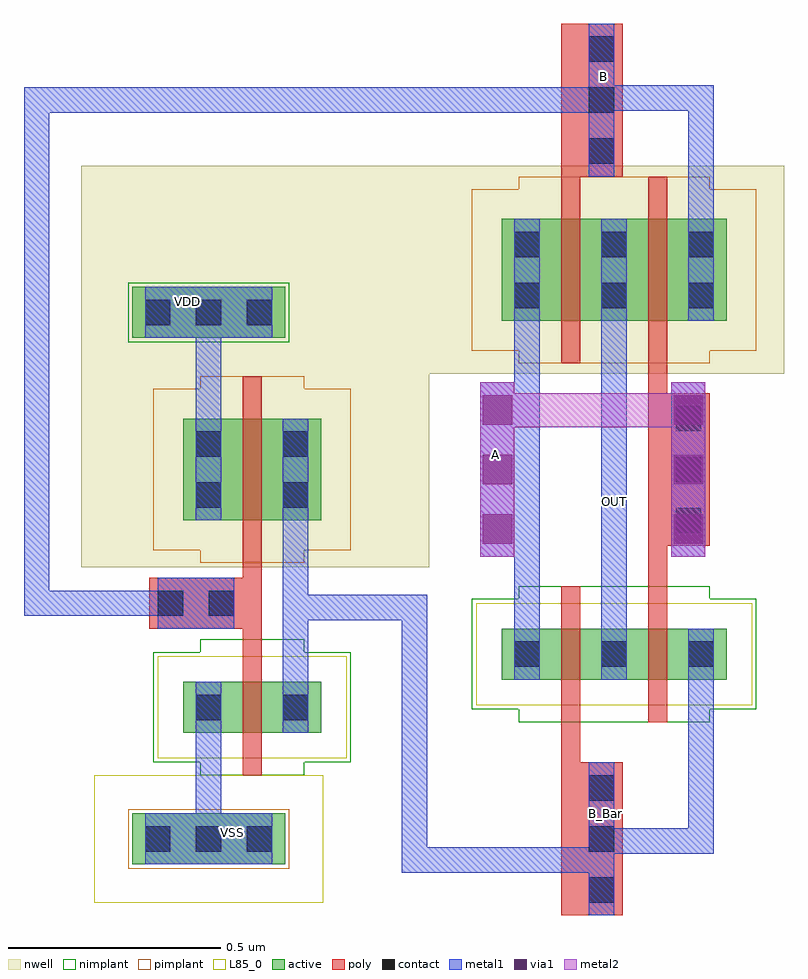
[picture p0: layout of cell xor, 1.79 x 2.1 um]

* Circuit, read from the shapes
.subckt xor A B B_Bar OUT VDD VSS
M1 B_Bar B VSS VSS nfet w=0.12u l=0.045u
M2 OUT B_Bar A VSS nfet w=0.12u l=0.045u
M3 B_Bar A OUT VSS nfet w=0.12u l=0.045u
M4 B_Bar B VDD VDD pfet w=0.24u l=0.045u
M5 OUT B A VDD pfet w=0.24u l=0.045u
M6 B A OUT VDD pfet w=0.24u l=0.045u
.ends

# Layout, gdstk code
import gdstk
lib = gdstk.Library(unit=1e-6, precision=5e-10)
def R(c, l, rs):  # rectangles x0, y0, x1, y1
    for r in rs: c.add(gdstk.rectangle(r[:2], r[2:], *l))
def A(c, l, x, y, w, h, nx, ny, dx, dy):  # array of equal rectangles
    R(c, l, [(x+i*dx, y+j*dy, x+i*dx+w, y+j*dy+h) for i in range(nx) for j in range(ny)])
def P(c, l, *ps):  # polygons
    for p in ps: c.add(gdstk.Polygon(p, *l))
active = (1, 0)
nwell = (2, 0)
poly = (3, 0)
nimplant = (4, 0)
pimplant = (5, 0)
contact = (6, 0)
metal1 = (7, 0)
via1 = (8, 0)
metal2 = (9, 0)
L85_0 = (85, 0)

nmos1v_cdns_764441582630 = lib.new_cell('nmos1v_CDNS_764441582630')
R(nmos1v_cdns_764441582630, active, [(-0.14,0,0,0.12), (0,0,0.045,0.12), (0.045,0,0.185,0.12)])
R(nmos1v_cdns_764441582630, poly, [(0,-0.1,0.045,-0.05), (0,-0.05,0.045,0), (0,0,0.045,0.12), (0,0.12,0.045,0.17), (0,0.17,0.045,0.22)])
R(nmos1v_cdns_764441582630, nimplant, [(-0.1,-0.1,0.145,0.22), (-0.21,-0.07,0.255,0.19)])
R(nmos1v_cdns_764441582630, contact, [(-0.11,0.03,-0.05,0.09), (0.095,0.03,0.155,0.09)])
R(nmos1v_cdns_764441582630, metal1, [(-0.11,0,-0.05,0.12), (0.095,0,0.155,0.12)])
R(nmos1v_cdns_764441582630, L85_0, [(-0.2,-0.06,0.245,0.18)])
nmos1v_cdns_764441582630.add(gdstk.Label('D_drain_1', (0.115,0.06), layer=1, texttype=0))
nmos1v_cdns_764441582630.add(gdstk.Label('S_source_0', (-0.07,0.06), layer=1, texttype=0))
nmos1v_cdns_764441582630.add(gdstk.Label('G_gate_1', (0.0225,-0.075), layer=3, texttype=0))
nmos1v_cdns_764441582630.add(gdstk.Label('G_gate_1', (0.0225,0.195), layer=3, texttype=0))
nmos1v_cdns_764441582630.add(gdstk.Label('D_drain_1', (0.125,0.06), layer=7, texttype=0))
nmos1v_cdns_764441582630.add(gdstk.Label('S_source_0', (-0.08,0.06), layer=7, texttype=0))
nmos1v_cdns_764441582630.add(gdstk.Label('B', (0.0225,0.06), layer=85, texttype=0))

pmos1v_cdns_764441582631 = lib.new_cell('pmos1v_CDNS_764441582631')
R(pmos1v_cdns_764441582631, active, [(-0.14,0,0,0.24), (0,0,0.045,0.24), (0.045,0,0.185,0.24)])
R(pmos1v_cdns_764441582631, nwell, [(-0.2,-0.06,0.245,0.3)])
R(pmos1v_cdns_764441582631, poly, [(0,-0.1,0.045,-0.05), (0,-0.05,0.045,0), (0,0,0.045,0.24), (0,0.24,0.045,0.29), (0,0.29,0.045,0.34)])
R(pmos1v_cdns_764441582631, pimplant, [(-0.1,-0.1,0.145,0.34), (-0.21,-0.07,0.255,0.31)])
R(pmos1v_cdns_764441582631, contact, [(-0.11,0.03,-0.05,0.09), (0.095,0.03,0.155,0.09), (-0.11,0.15,-0.05,0.21), (0.095,0.15,0.155,0.21)])
R(pmos1v_cdns_764441582631, metal1, [(-0.11,0,-0.05,0.24), (0.095,0,0.155,0.24)])
pmos1v_cdns_764441582631.add(gdstk.Label('D_drain_1', (0.115,0.12), layer=1, texttype=0))
pmos1v_cdns_764441582631.add(gdstk.Label('S_source_0', (-0.07,0.12), layer=1, texttype=0))
pmos1v_cdns_764441582631.add(gdstk.Label('G_gate_1', (0.0225,-0.075), layer=3, texttype=0))
pmos1v_cdns_764441582631.add(gdstk.Label('G_gate_1', (0.0225,0.315), layer=3, texttype=0))
pmos1v_cdns_764441582631.add(gdstk.Label('D_drain_1', (0.125,0.12), layer=7, texttype=0))
pmos1v_cdns_764441582631.add(gdstk.Label('S_source_0', (-0.08,0.12), layer=7, texttype=0))
pmos1v_cdns_764441582631.add(gdstk.Label('B', (0.0225,0.12), layer=2, texttype=0))

m1_psub_cdns_76444158263 = lib.new_cell('M1_PSUB_CDNS_764441582632')
R(m1_psub_cdns_76444158263, active, [(-0.18,-0.06,0.18,0.06)])
R(m1_psub_cdns_76444158263, pimplant, [(-0.19,-0.07,0.19,0.07)])
A(m1_psub_cdns_76444158263, contact, -0.15, -0.03, 0.06, 0.06, 3, 1, 0.12, 0)
R(m1_psub_cdns_76444158263, metal1, [(-0.15,-0.06,0.15,0.06)])
R(m1_psub_cdns_76444158263, L85_0, [(-0.27,-0.15,0.27,0.15)])

m1_po_cdns_764441582633 = lib.new_cell('M1_PO_CDNS_764441582633')
R(m1_po_cdns_764441582633, poly, [(-0.11,-0.06,0.11,0.06)])
R(m1_po_cdns_764441582633, contact, [(-0.09,-0.03,-0.03,0.03), (0.03,-0.03,0.09,0.03)])
R(m1_po_cdns_764441582633, metal1, [(-0.09,-0.06,0.09,0.06)])

m1_nwell_cdns_7644415826 = lib.new_cell('M1_NWELL_CDNS_764441582634')
R(m1_nwell_cdns_7644415826, active, [(-0.18,-0.06,0.18,0.06)])
R(m1_nwell_cdns_7644415826, nwell, [(-0.27,-0.15,0.27,0.15)])
R(m1_nwell_cdns_7644415826, nimplant, [(-0.19,-0.07,0.19,0.07)])
A(m1_nwell_cdns_7644415826, contact, -0.15, -0.03, 0.06, 0.06, 3, 1, 0.12, 0)
R(m1_nwell_cdns_7644415826, metal1, [(-0.15,-0.06,0.15,0.06)])

inv = lib.new_cell('inv')
R(inv, nwell, [(-0.4,0.12,0.345,0.9)])
R(inv, metal1, [(-0.12,-0.51,-0.095,-0.5), (0.09,0.005,0.12,0.06), (-0.09,0.035,-0.07,0.05), (-0.105,0.695,-0.09,0.71)])
inv.add(gdstk.FlexPath([(-0.0025,-0.05),(-0.0025,0.13)], 0.045, ends="flush", simple_path=True, layer=3, datatype=0))  # poly
inv.add(gdstk.FlexPath([(0.1,-0.15),(0.1,0.23)], 0.06, ends="flush", simple_path=True, layer=7, datatype=0))  # metal1
inv.add(gdstk.FlexPath([(-0.105,-0.52),(-0.105,-0.245)], 0.06, ends="flush", simple_path=True, layer=7, datatype=0))  # metal1
inv.add(gdstk.FlexPath([(-0.105,0.47),(-0.105,0.72)], 0.06, ends="flush", simple_path=True, layer=7, datatype=0))  # metal1
inv.add(gdstk.Reference(nmos1v_cdns_764441582630, (-0.025,-0.27)))
inv.add(gdstk.Reference(pmos1v_cdns_764441582631, (-0.025,0.23)))
inv.add(gdstk.Reference(m1_psub_cdns_76444158263, (-0.105,-0.52)))
inv.add(gdstk.Reference(m1_po_cdns_764441582633, (-0.135,0.035)))
inv.add(gdstk.Reference(m1_nwell_cdns_7644415826, (-0.105,0.72)))
inv.add(gdstk.Label('OUT', (0.105,0.03), layer=7, texttype=0))
inv.add(gdstk.Label('OUT', (0.105,0.0325), layer=7, texttype=0))
inv.add(gdstk.Label('IN', (-0.08,0.045), layer=7, texttype=0))
inv.add(gdstk.Label('IN', (-0.08,0.0425), layer=7, texttype=0))
inv.add(gdstk.Label('VSS', (-0.105,-0.505), layer=7, texttype=0))
inv.add(gdstk.Label('VSS', (-0.1075,-0.505), layer=7, texttype=0))
inv.add(gdstk.Label('VDD', (-0.095,0.705), layer=7, texttype=0))
inv.add(gdstk.Label('VDD', (-0.0975,0.7025), layer=7, texttype=0))

pmos1v_cdns_764441582632 = lib.new_cell('pmos1v_CDNS_764441582632')
R(pmos1v_cdns_764441582632, active, [(-0.14,0,0,0.24), (0,0,0.045,0.24), (0.045,0,0.205,0.24), (0.205,0,0.25,0.24), (0.25,0,0.39,0.24)])
R(pmos1v_cdns_764441582632, nwell, [(-0.2,-0.06,0.45,0.3)])
R(pmos1v_cdns_764441582632, poly, [(0,-0.1,0.045,-0.05), (0.205,-0.1,0.25,-0.05), (0,-0.05,0.045,0), (0.205,-0.05,0.25,0), (0,0,0.045,0.24), (0.205,0,0.25,0.24), (0,0.24,0.045,0.29), (0.205,0.24,0.25,0.29), (0,0.29,0.045,0.34), (0.205,0.29,0.25,0.34)])
R(pmos1v_cdns_764441582632, pimplant, [(-0.1,-0.1,0.35,0.34), (-0.21,-0.07,0.46,0.31)])
A(pmos1v_cdns_764441582632, contact, -0.11, 0.03, 0.06, 0.06, 3, 2, 0.205, 0.12)
A(pmos1v_cdns_764441582632, metal1, -0.11, 0, 0.06, 0.24, 3, 1, 0.205, 0)
pmos1v_cdns_764441582632.add(gdstk.Label('S_source_2', (0.32,0.12), layer=1, texttype=0))
pmos1v_cdns_764441582632.add(gdstk.Label('S_source_0', (-0.07,0.12), layer=1, texttype=0))
pmos1v_cdns_764441582632.add(gdstk.Label('G_gate_2', (0.2275,-0.075), layer=3, texttype=0))
pmos1v_cdns_764441582632.add(gdstk.Label('G_gate_2', (0.2275,0.315), layer=3, texttype=0))
pmos1v_cdns_764441582632.add(gdstk.Label('G_gate_1', (0.0225,-0.075), layer=3, texttype=0))
pmos1v_cdns_764441582632.add(gdstk.Label('G_gate_1', (0.0225,0.315), layer=3, texttype=0))
pmos1v_cdns_764441582632.add(gdstk.Label('S_source_2', (0.33,0.12), layer=7, texttype=0))
pmos1v_cdns_764441582632.add(gdstk.Label('D_drain_1', (0.125,0.12), layer=7, texttype=0))
pmos1v_cdns_764441582632.add(gdstk.Label('S_source_0', (-0.08,0.12), layer=7, texttype=0))
pmos1v_cdns_764441582632.add(gdstk.Label('B', (0.125,0.12), layer=2, texttype=0))

nmos1v_cdns_764441582633 = lib.new_cell('nmos1v_CDNS_764441582633')
R(nmos1v_cdns_764441582633, active, [(-0.14,0,0,0.12), (0,0,0.045,0.12), (0.045,0,0.205,0.12), (0.205,0,0.25,0.12), (0.25,0,0.39,0.12)])
R(nmos1v_cdns_764441582633, poly, [(0,-0.1,0.045,-0.05), (0.205,-0.1,0.25,-0.05), (0,-0.05,0.045,0), (0.205,-0.05,0.25,0), (0,0,0.045,0.12), (0.205,0,0.25,0.12), (0,0.12,0.045,0.17), (0.205,0.12,0.25,0.17), (0,0.17,0.045,0.22), (0.205,0.17,0.25,0.22)])
R(nmos1v_cdns_764441582633, nimplant, [(-0.1,-0.1,0.35,0.22), (-0.21,-0.07,0.46,0.19)])
A(nmos1v_cdns_764441582633, contact, -0.11, 0.03, 0.06, 0.06, 3, 1, 0.205, 0)
A(nmos1v_cdns_764441582633, metal1, -0.11, 0, 0.06, 0.12, 3, 1, 0.205, 0)
R(nmos1v_cdns_764441582633, L85_0, [(-0.2,-0.06,0.45,0.18)])
nmos1v_cdns_764441582633.add(gdstk.Label('S_source_2', (0.32,0.06), layer=1, texttype=0))
nmos1v_cdns_764441582633.add(gdstk.Label('S_source_0', (-0.07,0.06), layer=1, texttype=0))
nmos1v_cdns_764441582633.add(gdstk.Label('G_gate_2', (0.2275,-0.075), layer=3, texttype=0))
nmos1v_cdns_764441582633.add(gdstk.Label('G_gate_2', (0.2275,0.195), layer=3, texttype=0))
nmos1v_cdns_764441582633.add(gdstk.Label('G_gate_1', (0.0225,-0.075), layer=3, texttype=0))
nmos1v_cdns_764441582633.add(gdstk.Label('G_gate_1', (0.0225,0.195), layer=3, texttype=0))
nmos1v_cdns_764441582633.add(gdstk.Label('S_source_2', (0.33,0.06), layer=7, texttype=0))
nmos1v_cdns_764441582633.add(gdstk.Label('D_drain_1', (0.125,0.06), layer=7, texttype=0))
nmos1v_cdns_764441582633.add(gdstk.Label('S_source_0', (-0.08,0.06), layer=7, texttype=0))
nmos1v_cdns_764441582633.add(gdstk.Label('B', (0.125,0.06), layer=85, texttype=0))

m2_m1_cdns_764441582630 = lib.new_cell('M2_M1_CDNS_764441582630')
R(m2_m1_cdns_764441582630, metal1, [(-0.04,-0.205,0.04,0.205)])
A(m2_m1_cdns_764441582630, via1, -0.035, -0.175, 0.07, 0.07, 1, 3, 0, 0.14)
R(m2_m1_cdns_764441582630, metal2, [(-0.04,-0.205,0.04,0.205)])

m1_po_cdns_764441582631 = lib.new_cell('M1_PO_CDNS_764441582631')
R(m1_po_cdns_764441582631, poly, [(-0.05,-0.18,0.05,0.18)])
A(m1_po_cdns_764441582631, contact, -0.03, -0.15, 0.06, 0.06, 1, 3, 0, 0.12)
R(m1_po_cdns_764441582631, metal1, [(-0.03,-0.18,0.03,0.18)])

xor = lib.new_cell('xor')
R(xor, nwell, [(0.095,0.565,0.81,1.025)])
P(xor, nwell, [(-0.8,0.095),(0.02,0.095),(0.02,0.55),(0.855,0.55),(0.855,1.04),(-0.8,1.04)])
R(xor, metal1, [(-0.465,-0.55,-0.42,-0.515), (0.415,-0.495,0.445,-0.48), (0.44,0.24,0.465,0.265), (0.16,0.315,0.195,0.385), (-0.575,0.705,-0.53,0.74), (0.41,1.185,0.45,1.27)])
xor.add(gdstk.FlexPath([(0.3525,1.015),(0.3525,1.375)], 0.045, ends="flush", simple_path=True, layer=3, datatype=0))  # poly
xor.add(gdstk.FlexPath([(0.5575,0.05),(0.5575,0.575)], 0.045, ends="flush", simple_path=True, layer=3, datatype=0))  # poly
xor.add(gdstk.FlexPath([(0.3525,-0.27),(0.3525,-0.725)], 0.045, ends="flush", simple_path=True, layer=3, datatype=0))  # poly
xor.add(gdstk.FlexPath([(-0.015,0),(-0.265,0)], 0.06, ends=(0.03, 0), simple_path=True, layer=7, datatype=0))  # metal1
xor.add(gdstk.FlexPath([(-0.015,-0.595),(-0.015,0)], 0.06, ends="extended", simple_path=True, layer=7, datatype=0))  # metal1
xor.add(gdstk.FlexPath([(0.425,-0.595),(-0.015,-0.595)], 0.06, ends="extended", simple_path=True, layer=7, datatype=0))  # metal1
xor.add(gdstk.FlexPath([(0.425,-0.55),(0.425,-0.595)], 0.06, ends="extended", simple_path=True, layer=7, datatype=0))  # metal1
xor.add(gdstk.FlexPath([(-0.905,1.195),(0.395,1.195)], 0.06, ends=(0.03, 0), simple_path=True, layer=7, datatype=0))  # metal1
xor.add(gdstk.FlexPath([(-0.905,0.01),(-0.905,1.195)], 0.06, ends="extended", simple_path=True, layer=7, datatype=0))  # metal1
xor.add(gdstk.FlexPath([(-0.53,0.01),(-0.905,0.01)], 0.06, ends=(0, 0.03), simple_path=True, layer=7, datatype=0))  # metal1
xor.add(gdstk.FlexPath([(0.66,0.915),(0.66,1.2)], 0.06, ends=(0, 0.03), simple_path=True, layer=7, datatype=0))  # metal1
xor.add(gdstk.FlexPath([(0.66,1.2),(0.455,1.2)], 0.06, ends=(0.03, 0), simple_path=True, layer=7, datatype=0))  # metal1
xor.add(gdstk.FlexPath([(0.455,0.675),(0.455,-0.05)], 0.06, ends="flush", simple_path=True, layer=7, datatype=0))  # metal1
xor.add(gdstk.FlexPath([(0.25,0.675),(0.25,-0.05)], 0.06, ends="flush", simple_path=True, layer=7, datatype=0))  # metal1
xor.add(gdstk.FlexPath([(0.425,-0.55),(0.425,-0.545)], 0.06, ends=(0.03, 0), simple_path=True, layer=7, datatype=0))  # metal1
xor.add(gdstk.FlexPath([(0.66,-0.55),(0.425,-0.55)], 0.06, ends="extended", simple_path=True, layer=7, datatype=0))  # metal1
xor.add(gdstk.FlexPath([(0.66,-0.17),(0.66,-0.55)], 0.06, ends=(0, 0.03), simple_path=True, layer=7, datatype=0))  # metal1
xor.add(gdstk.FlexPath([(0.18,0.465),(0.59,0.465)], 0.08, ends="flush", simple_path=True, layer=9, datatype=0))  # metal2
xor.add(gdstk.Reference(inv, (-0.395,-0.025)))
xor.add(gdstk.Reference(pmos1v_cdns_764441582632, (0.33,0.675)))
xor.add(gdstk.Reference(nmos1v_cdns_764441582633, (0.33,-0.17)))
xor.add(gdstk.Reference(m2_m1_cdns_764441582630, (0.63,0.325)))
xor.add(gdstk.Reference(m2_m1_cdns_764441582630, (0.18,0.325)))
xor.add(gdstk.Reference(m1_po_cdns_764441582631, (0.425,1.195)))
xor.add(gdstk.Reference(m1_po_cdns_764441582631, (0.63,0.325)))
xor.add(gdstk.Reference(m1_po_cdns_764441582631, (0.425,-0.545)))
xor.add(gdstk.Label('VSS', (-0.445,-0.53), layer=7, texttype=0))
xor.add(gdstk.Label('VSS', (-0.4425,-0.5325), layer=7, texttype=0))
xor.add(gdstk.Label('VDD', (-0.55,0.72), layer=7, texttype=0))
xor.add(gdstk.Label('VDD', (-0.5525,0.7225), layer=7, texttype=0))
xor.add(gdstk.Label('B_Bar', (0.435,-0.485), layer=7, texttype=0))
xor.add(gdstk.Label('B_Bar', (0.43,-0.4875), layer=7, texttype=0))
xor.add(gdstk.Label('OUT', (0.455,0.25), layer=7, texttype=0))
xor.add(gdstk.Label('OUT', (0.4525,0.2525), layer=7, texttype=0))
xor.add(gdstk.Label('A', (0.175,0.36), layer=7, texttype=0))
xor.add(gdstk.Label('A', (0.1775,0.35), layer=7, texttype=0))
xor.add(gdstk.Label('B', (0.43,1.25), layer=7, texttype=0))
xor.add(gdstk.Label('B', (0.43,1.2275), layer=7, texttype=0))

lib.write_gds('xor.gds')
